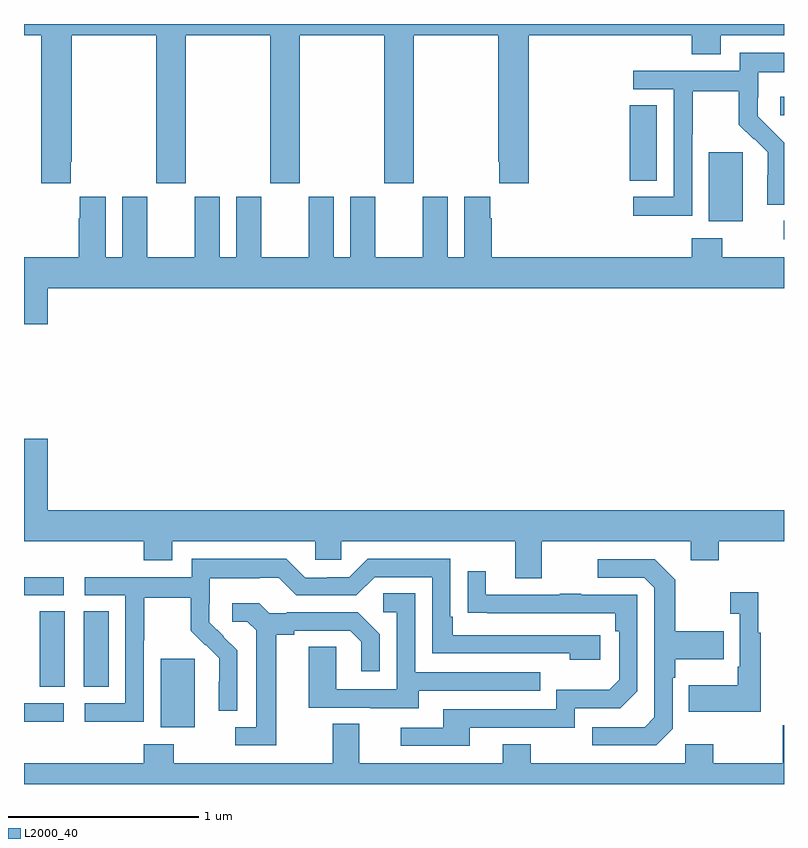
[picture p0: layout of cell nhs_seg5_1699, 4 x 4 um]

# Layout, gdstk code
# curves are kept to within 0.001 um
import gdstk
lib = gdstk.Library(unit=1e-6, precision=1e-09)
def R(c, l, rs):  # rectangles x0, y0, x1, y1
    for r in rs: c.add(gdstk.rectangle(r[:2], r[2:], *l))
def P(c, l, *ps):  # polygons
    for p in ps: c.add(gdstk.Polygon(p, *l))
L2000_40 = (2000, 40)

nhs_seg5_1699 = lib.new_cell('nhs_seg5_1699')
R(nhs_seg5_1699, L2000_40, [(213.719,873.098,213.898,873.459), (213,873.127,213.208,873.225), (213.083,873.31,213.214,873.707), (213.314,873.31,213.445,873.707), (213,873.792,213.208,873.888), (216.999,875.667,217,875.763), (216.605,875.762,216.784,876.123), (216.188,875.974,216.331,876.371), (216.981,876.318,217,876.415)])
P(nhs_seg5_1699, L2000_40, [(213.247,876.073),(213.252,876.073),(213.252,876.74),(213.697,876.74),(213.697,875.961),(213.852,875.961),(213.852,876.74),(214.297,876.74),(214.297,875.961),(214.452,875.961),(214.452,876.74),(214.897,876.74),(214.897,875.961),(215.052,875.961),(215.052,876.74),(215.497,876.74),(215.497,876.073),(215.501,876.073),(215.501,875.961),(215.657,875.961),(215.657,876.74),(216.515,876.74),(216.515,876.641),(216.667,876.641),(216.667,876.74),(217,876.74),(217,876.799),(213,876.799),(213,876.74),(213.092,876.74),(213.092,875.961),(213.247,875.961)],
  [(216.516,876.22),(216.519,876.22),(216.519,876.444),(216.763,876.444),(216.763,876.269),(216.84,876.192),(216.843,876.195),(216.914,876.125),(216.914,876.002),(216.912,876.002),(216.912,875.848),(217,875.848),(217,876.174),(216.862,876.314),(216.862,876.411),(216.864,876.411),(216.864,876.545),(217,876.545),(217,876.649),(216.768,876.649),(216.768,876.552),(216.207,876.552),(216.207,876.456),(216.42,876.456),(216.42,875.889),(216.207,875.889),(216.207,875.791),(216.516,875.791)],
  [(213.124,875.408),(217,875.408),(217,875.572),(216.675,875.572),(216.675,875.671),(216.515,875.671),(216.515,875.572),(215.462,875.572),(215.462,875.777),(215.455,875.777),(215.455,875.89),(215.318,875.89),(215.318,875.572),(215.23,875.572),(215.23,875.89),(215.099,875.89),(215.099,875.572),(214.849,875.572),(214.849,875.89),(214.718,875.89),(214.718,875.572),(214.63,875.572),(214.63,875.89),(214.499,875.89),(214.499,875.572),(214.249,875.572),(214.249,875.89),(214.118,875.89),(214.118,875.572),(214.03,875.572),(214.03,875.89),(213.899,875.89),(213.899,875.572),(213.649,875.572),(213.649,875.89),(213.518,875.89),(213.518,875.572),(213.43,875.572),(213.43,875.89),(213.293,875.89),(213.293,875.777),(213.287,875.777),(213.287,875.572),(213,875.572),(213,875.22),(213.124,875.22)],
  [(215.725,874.076),(216.509,874.076),(216.509,873.977),(216.657,873.977),(216.657,874.076),(217,874.076),(217,874.24),(213.124,874.24),(213.124,874.615),(213,874.615),(213,874.076),(213.629,874.076),(213.629,873.977),(213.781,873.977),(213.781,874.076),(214.533,874.076),(214.533,873.978),(214.671,873.978),(214.671,874.076),(215.585,874.076),(215.585,873.882),(215.725,873.882)],
  [(213.63,873.556),(213.633,873.556),(213.633,873.78),(213.877,873.78),(213.877,873.605),(213.954,873.528),(213.957,873.531),(214.028,873.461),(214.028,873.338),(214.026,873.338),(214.026,873.184),(214.122,873.184),(214.122,873.502),(213.976,873.65),(213.976,873.747),(213.978,873.747),(213.978,873.881),(214.241,873.881),(214.241,873.885),(214.341,873.885),(214.434,873.792),(214.749,873.792),(214.845,873.888),(215.148,873.888),(215.148,873.486),(215.873,873.486),(215.873,873.452),(216.034,873.452),(216.034,873.582),(215.257,873.582),(215.257,873.679),(215.244,873.679),(215.244,873.984),(214.809,873.984),(214.713,873.888),(214.595,873.888),(214.595,873.885),(214.479,873.885),(214.379,873.985),(213.882,873.985),(213.882,873.888),(213.321,873.888),(213.321,873.792),(213.534,873.792),(213.534,873.225),(213.321,873.225),(213.321,873.127),(213.63,873.127)],
  [(216.414,873.09),(216.414,873.359),(216.427,873.359),(216.427,873.455),(216.683,873.455),(216.683,873.603),(216.427,873.603),(216.427,873.875),(216.321,873.981),(216.021,873.981),(216.021,873.885),(216.264,873.885),(216.318,873.831),(216.318,873.15),(216.267,873.099),(215.991,873.099),(215.991,873.003),(216.327,873.003)],
  [(215.347,873.096),(215.898,873.096),(215.898,873.198),(216.138,873.198),(216.228,873.288),(216.228,873.795),(215.933,873.795),(215.933,873.8),(215.821,873.8),(215.821,873.795),(215.431,873.795),(215.431,873.919),(215.335,873.919),(215.335,873.7),(216.112,873.699),(216.112,873.602),(216.132,873.602),(216.132,873.348),(216.079,873.295),(215.802,873.295),(215.802,873.192),(215.207,873.192),(215.207,873.096),(214.983,873.096),(214.983,873),(215.347,873)],
  [(216.877,873.595),(216.865,873.595),(216.865,873.808),(216.717,873.808),(216.717,873.695),(216.768,873.695),(216.768,873.415),(216.756,873.415),(216.756,873.319),(216.499,873.319),(216.499,873.179),(216.877,873.179)],
  [(215.077,873.291),(215.717,873.291),(215.717,873.387),(215.058,873.387),(215.058,873.803),(214.89,873.803),(214.89,873.702),(214.962,873.702),(214.962,873.297),(214.644,873.297),(214.644,873.521),(214.499,873.521),(214.499,873.201),(214.823,873.201),(214.823,873.197),(215.077,873.197)],
  [(214.327,873.584),(214.423,873.584),(214.423,873.606),(214.718,873.606),(214.775,873.549),(214.775,873.393),(214.872,873.393),(214.872,873.586),(214.756,873.702),(214.384,873.702),(214.384,873.699),(214.29,873.699),(214.238,873.751),(214.095,873.751),(214.095,873.654),(214.176,873.654),(214.223,873.607),(214.223,873.099),(214.113,873.099),(214.113,873.003),(214.327,873.003)],
  [(217,873.107),(216.994,873.107),(216.994,872.908),(216.627,872.908),(216.627,873.007),(216.48,873.007),(216.48,872.908),(215.667,872.908),(215.667,873.007),(215.519,873.007),(215.519,872.908),(214.765,872.908),(214.765,873.116),(214.625,873.116),(214.625,872.908),(213.789,872.908),(213.789,873.007),(213.629,873.007),(213.629,872.908),(213,872.908),(213,872.799),(217,872.799)])

lib.write_gds('nhs_seg5_1699.gds')
